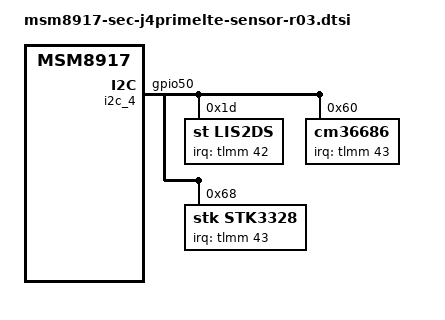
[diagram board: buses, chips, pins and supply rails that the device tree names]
/* Copyright (c) 2017, The Linux Foundation. All rights reserved.
 *
 * This program is free software; you can redistribute it and/or modify
 * it under the terms of the GNU General Public License version 2 and
 * only version 2 as published by the Free Software Foundation.
 *
 * This program is distributed in the hope that it will be useful,
 * but WITHOUT ANY WARRANTY; without even the implied warranty of
 * MERCHANTABILITY or FITNESS FOR A PARTICULAR PURPOSE.  See the
 * GNU General Public License for more details.
 */

&soc {
	tlmm: pinctrl@1000000 {
		acc_int: acc_int {
			mux {
				pins = "gpio42";
				function = "gpio";
			};
			config {
				pins = "gpio42";
				drive-strength = <2>;
				bias-disable;
			};
		};

		prox_int: prox_int {
			mux {
				pins = "gpio43";
				function = "gpio";
			};
			config {
				pins = "gpio43";
				drive-strength = <2>;
				bias-disable;
			};
		};

		prox_ldo_en: prox_ldo_en {
			mux {
				pins = "gpio50";
				function = "gpio";
			};
			config {
				pins = "gpio50";
				bias-disable;
				output-high;
			};
		};

	};

	i2c_4: i2c@78b8000 { /* BLSP2 QUP2 */

		compatible = "qcom,i2c-msm-v2";
		#address-cells = <1>;
		#size-cells = <0>;
		reg-names = "qup_phys_addr";
		reg = <0x78b8000 0x600>;

		interrupt-names = "qup_irq";
		interrupts = <0 98 0>;

		qcom,clk-freq-out = <400000>;
		qcom,clk-freq-in  = <19200000>;
		clock-names = "iface_clk", "core_clk";
		clocks = <&clock_gcc clk_gcc_blsp1_ahb_clk>,

			<&clock_gcc clk_gcc_blsp1_qup4_i2c_apps_clk>;


		pinctrl-names = "i2c_active", "i2c_sleep";
		pinctrl-0 = <&i2c_4_active &sensor_ldo_en_default &prox_ldo_en>;

		pinctrl-1 = <&i2c_4_sleep>;

		qcom,noise-rjct-scl = <1>;
		qcom,noise-rjct-sda = <1>;
		qcom,master-id = <86>;

		dmas = <&dma_blsp1 10 64 0x20000020 0x20>,

			<&dma_blsp1 11 32 0x20000020 0x20>;

		dma-names = "tx", "rx";
		status = "okay";

		lis2ds@1D {
			compatible = "st,lis2ds";
			reg = <0x1D>;
			pinctrl-names = "default";
			pinctrl-0 = <&acc_int>;
			interrupt-parent = <&tlmm>;
			interrupts = <42 0>;
			st,irq_gpio = <&tlmm 42 0>;
			st,orientation = <1 2 1 0 1 1 1 1 0>;
		};

		cm36686@60 {
			compatible = "cm36686";
			reg = <0x60>;
			pinctrl-names = "default";
			pinctrl-0 = <&prox_int>;
			interrupt-parent = <&tlmm>;
			interrupts = <43 0>;
			cm36686,irq_gpio = <&tlmm 43 0>;
			cm36686,default_hi_thd = <15>;
			cm36686,default_low_thd = <9>;
			cm36686,cancel_hi_thd = <12>;
			cm36686,cancel_low_thd = <7>;
			cm36686,cal_skip_adc = <6>;
			cm36686,cal_fail_adc = <20>;
			cm36686,default_trim = <3>;
		};

		stk3328@68 {
			compatible = "stk,stk3328";
			reg = <0x68>;
			pinctrl-names = "default";
			pinctrl-0 = <&prox_int>;
			interrupt-parent = <&tlmm>;
			interrupts = <43 0>;
			stk,irq_gpio = <&tlmm 43 0>;
			stk,transmittance = <500>;
			stk,state_reg = <0x08>;
			stk,psctrl_reg = <0xF1>;
			stk,alsctrl_reg = <0x32>;
			stk,ledctrl_reg = <0x20>;
			stk,als_cgain = <0x30>;
			stk,wait_reg = <0x0F>;
			stk,ps_thdh = <40>;
			stk,ps_thdl = <25>;
			stk,cancel_hi_thd = <35>;
			stk,cancel_low_thd = <25>;
			stk,cal_skip_adc = <13>;
			stk,cal_fail_adc = <40>;
			stk,default_trim = <2>;
			stk,use-fir;
		};
	};
};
